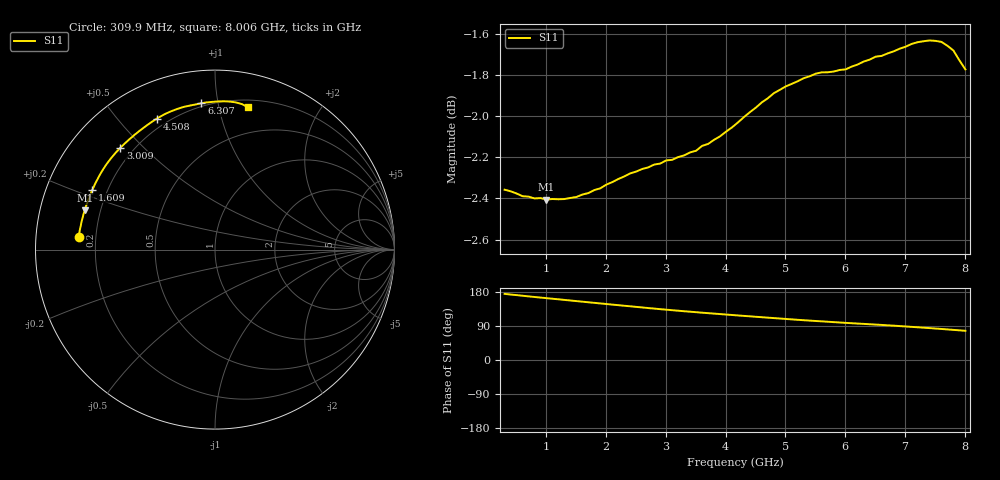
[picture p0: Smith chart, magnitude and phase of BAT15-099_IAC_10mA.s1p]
! Infineon Technologies  Discrete & RF Semiconductors
! BAT15-099
! IAC = 10 mA
! One-Port S-Parameters
# Hz  S  MA  R  50
!f  S11
!Hz  Mag  Ang
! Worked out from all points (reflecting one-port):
!   78 points, 309.9 MHz to 8.006 GHz, reference 50 ohm
!   lowest |S11| = -2.4 dB at 1.01 GHz (marker M1), VSWR 7.27, Z = 7.03 + j7.22 ohm
!   phase of S11 starts at 175 deg and turns -97 deg over the sweep
!   S11 on the Smith chart (normalised r, x): 309.9 MHz: 0.14, +0.05; 1.609 GHz: 0.14, +0.23; 3.009 GHz: 0.15, +0.43; 4.508 GHz: 0.16, +0.64; 6.307 GHz: 0.18, +0.90; 8.006 GHz: 0.26, +1.22
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3.0985e8  0.7623 174.5
4.098e8  0.7616 172.7
5.0975e8  0.7607 171.2
6.097e8  0.7595 169.5
1.0095e9  0.7581 163.2
1.30935e9  0.7583 158.5
1.6092e9  0.7602 153.9
2.009e9  0.7644 147.7
2.30885e9  0.768 143.1
2.6087e9  0.7712 138.7
2.70865e9  0.7719 137.1
3.0085e9  0.7749 132.8
3.2084e9  0.7763 130.0
3.6082e9  0.7812 124.8
4.2079e9  0.7915 117.6
4.50775e9  0.7981 114.0
4.8076e9  0.8046 110.6
5.2074e9  0.81 106.0
5.50725e9  0.8134 102.9
6.007e9  0.8154 98.0
6.10695e9  0.8167 97.1
6.30685e9  0.819 95.3
6.8066e9  0.8236 90.6
7.10645e9  0.8271 87.4
7.4063e9  0.8287 84.2
7.6062e9  0.828 81.9
7.8061e9  0.824 79.4
8.006e9  0.8154 77.1
